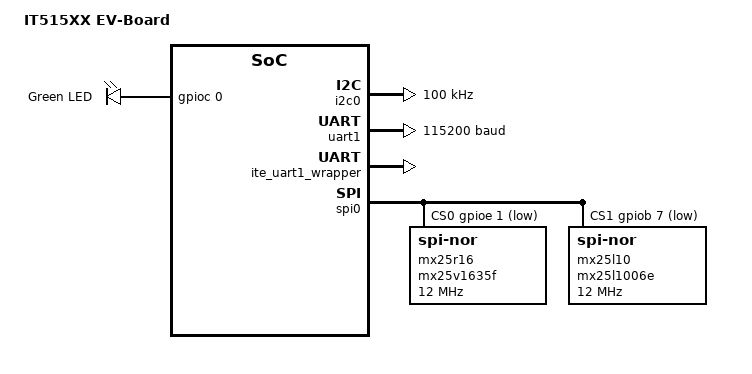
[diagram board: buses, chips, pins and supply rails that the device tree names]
/*
 * Copyright (c) 2025 ITE Corporation. All Rights Reserved.
 *
 * SPDX-License-Identifier: Apache-2.0
 */

/dts-v1/;

#include <zephyr/dt-bindings/gpio/gpio.h>
#include <ite/it51xxx.dtsi>
#include <ite/it51xxx-pinctrl-map.dtsi>

/ {
	model = "IT515XX EV-Board";
	compatible = "ite,it515xx-evb";

	aliases {
		i2c-0 = &i2c0;
		led0 = &led0;
		spi-flash0 = &mx25r16;
	};

	chosen {
		zephyr,console = &uart1;
		zephyr,shell-uart = &uart1;
		zephyr,sram = &sram0;
		zephyr,flash = &flash0;
		zephyr,flash-controller = &flashctrl;
		zephyr,code-partition = &slot0_partition;
	};

	leds {
		compatible = "gpio-leds";
		led0: led_0 {
			gpios = <&gpioc 0 GPIO_ACTIVE_HIGH>;
			label = "Green LED";
		};
	};
};

&i2c0 {
	status = "okay";
	clock-frequency = <I2C_BITRATE_STANDARD>;
	pinctrl-0 = <&i2c0_clk_gpf2_default
		     &i2c0_data_gpf3_default>;
	pinctrl-names = "default";
};

&uart1 {
	status = "okay";
	current-speed = <115200>;
	clock-frequency = <1843200>;
	pinctrl-0 = <&uart1_rx_gpc7_default
		     &uart1_tx_gpe6_default>;
	pinctrl-names = "default";
};

&ite_uart1_wrapper {
	status = "okay";
};

&flash0 {
	partitions {
		compatible = "fixed-partitions";
		#address-cells = <1>;
		#size-cells = <1>;
		slot0_partition: partition@0 {
			label = "image-0";
			reg = <0x00000000 DT_SIZE_K(128)>;
		};
		slot1_partition: partition@20000 {
			label = "image-1";
			reg = <0x00020000 DT_SIZE_K(128)>;
		};
		storage_partition: partition@40000 {
			label = "storage";
			reg = <0x00040000 DT_SIZE_K(256)>;
		};
	};
};

&spi0 {
	status = "okay";
	cs-gpios = <&gpioe 1 GPIO_ACTIVE_LOW>,
		    <&gpiob 7 GPIO_ACTIVE_LOW>;

	pinctrl-0 = <&ssce0_gpj7_default
		     &ssce1_gph7_default
		     &ssck_gpa6_default
		     &smosi_gpc6_default
		     &smiso_gpc4_default>;
	pinctrl-names = "default";

	mx25r16: mx25v1635f@0 {
		compatible = "jedec,spi-nor";
		reg = <0>;
		spi-max-frequency = <12000000>;
		jedec-id = [c2 23 15];
		size = <0x1000000>; // 16Mb
	};

	mx25l10: mx25l1006e@1 {
		compatible = "jedec,spi-nor";
		reg = <1>;
		spi-max-frequency = <12000000>;
		jedec-id = [c2 20 11];
		size = <0x100000>; // 1Mb
	};
};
